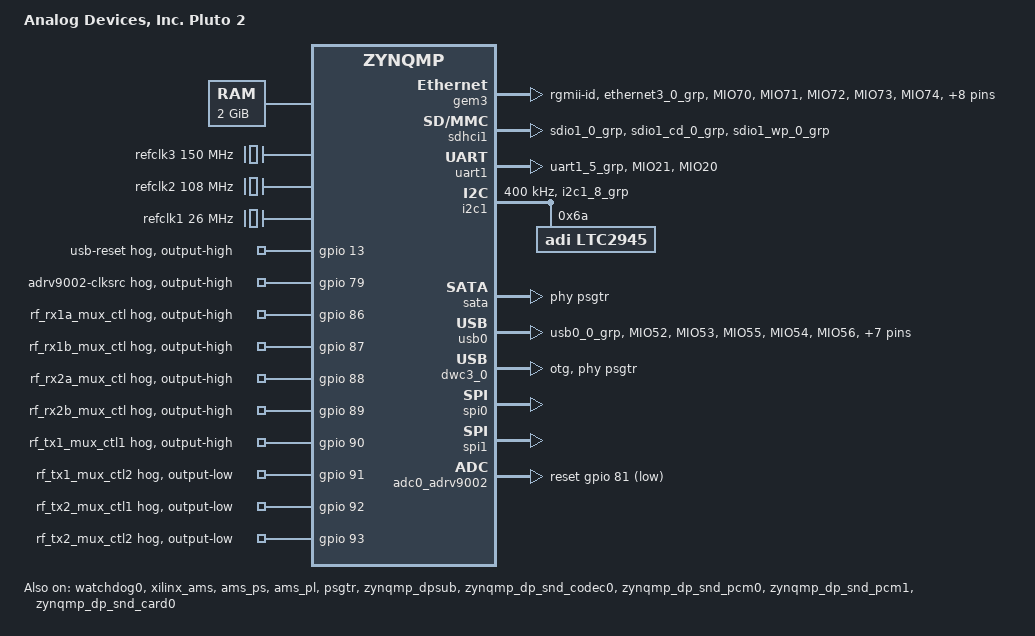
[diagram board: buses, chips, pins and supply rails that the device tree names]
/*
 * dts file for Analog Devices, Inc. Pluto 2
 *
 * Copyright (C) 2021 Analog Devices Inc.
 *
 * Licensed under the GPL-2.
 */

/dts-v1/;

#include "zynqmp.dtsi"
#include "zynqmp-clk-ccf.dtsi"
#include <dt-bindings/interrupt-controller/irq.h>
#include <dt-bindings/input/input.h>
#include <dt-bindings/gpio/gpio.h>
#include <dt-bindings/pinctrl/pinctrl-zynqmp.h>
#include <dt-bindings/phy/phy.h>

/ {
	model = "Analog Devices, Inc. Pluto 2";
	compatible = "xlnx,zynqmp";

	aliases {
		ethernet0 = &gem3;
		mmc0 = &sdhci1;
		rtc0 = &rtc;
		serial0 = &uart1;
		i2c0 = &i2c1;
		spi0 = &spi0;
	};

	chosen {
		bootargs = "console=ttyPS0,115200 root=/dev/mmcblk0p2 rw earlycon rootfstype=ext4 rootwait clk_ignore_unused cpuidle.off=1";
		stdout-path = "serial0:115200n8";
	};

	memory@0 {
		device_type = "memory";
		reg = <0x0 0x0 0x0 0x80000000>;
	};

	refclk3:psgtr_sata_clock {
	        compatible = "fixed-clock";
	        #clock-cells = <0x00>;
	        clock-frequency = <150000000>;
	};

	refclk2:psgtr_dp_clock {
	        compatible = "fixed-clock";
	        #clock-cells = <0x00>;
	        clock-frequency = <108000000>;
	};

	refclk1:psgtr_usb_clock {
	        compatible = "fixed-clock";
	        #clock-cells = <0x00>;
	        clock-frequency = <26000000>;
	};
};

&gem3 {
	phy-mode = "rgmii-id";
	status = "okay";
	xlnx,ptp-enet-clock = <0x0>;
	pinctrl-names = "default";
	pinctrl-0 = <&pinctrl_gem3_default>;
};

&sdhci1 {
	clock-frequency = <199998001>;
	status = "okay";
	no-1-8-v;
	xlnx,mio-bank = <0x1>;
	pinctrl-names = "default";
	pinctrl-0 = <&pinctrl_sdhci1_default>;
};

&uart1 {
	cts-override ;
	device_type = "serial";
	port-number = <0>;
	status = "okay";
	u-boot,dm-pre-reloc ;
	pinctrl-names = "default";
	pinctrl-0 = <&pinctrl_uart1_default>;
};

&watchdog0 {
	status = "okay";
};

&xilinx_ams {
	status = "okay";
};

&ams_ps {
	status = "okay";
};

&ams_pl {
	status = "okay";
};

&i2c1 {
	clock-frequency = <400000>;
	status = "okay";
	pinctrl-names = "default";
	pinctrl-0 = <&pinctrl_i2c1_default>;

	ltc2945@6a {
		compatible = "adi,ltc2945";
		reg = <0x6a>;
	};
};

&psgtr {
	status = "okay";
  reg-names = "serdes\0siou";
  #clock-cells = <0x01>;
  clocks = <&refclk1 &refclk2 &refclk3>;
  /* ref clk instances used per lane */
  clock-names = "ref0\0ref1\0ref2";
  #phy-cells = <0x04>;
};

&zynqmp_dpsub {
	phy-names = "dp-phy0";
	phys = <&psgtr 1 PHY_TYPE_DP 0 1>;
	status = "okay";
	xlnx,max-lanes = <1>;
};

&zynqmp_dp_snd_codec0 {
	status = "okay";
};

&zynqmp_dp_snd_pcm0 {
	status = "okay";
};

&zynqmp_dp_snd_pcm1 {
	status = "okay";
};

&zynqmp_dp_snd_card0 {
	status = "okay";
};

&zynqmp_dpdma {
	status = "okay";
};

&sata {
	ceva,p0-burst-params = /bits/ 8 <0x13 0x08 0x4A 0x06>;
	ceva,p0-cominit-params = /bits/ 8 <0x18 0x40 0x18 0x28>;
	ceva,p0-comwake-params = /bits/ 8 <0x06 0x14 0x08 0x0E>;
	ceva,p0-retry-params = /bits/ 16 <0x96A4 0x3FFC>;
	ceva,p1-burst-params = /bits/ 8 <0x13 0x08 0x4A 0x06>;
	ceva,p1-cominit-params = /bits/ 8 <0x18 0x40 0x18 0x28>;
	ceva,p1-comwake-params = /bits/ 8 <0x06 0x14 0x08 0x0E>;
	ceva,p1-retry-params = /bits/ 16 <0x96A4 0x3FFC>;
	status = "okay";
	xlnx,tz-nonsecure-sata0 = <0x0>;
	xlnx,tz-nonsecure-sata1 = <0x0>;
	phy-names = "sata-phy";
	phys = <&psgtr 3 PHY_TYPE_SATA 1 2>;
};

&gpio {
	emio-gpio-width = <32>;
	gpio-mask-high = <0x0>;
	gpio-mask-low = <0x5600>;
	status = "okay";
	usb_reset {
		gpio-hog;
		gpios = <13 0>;
		output-high;
		line-name = "usb-reset";
	};
	adrv9002_clksrc {
		gpio-hog;
		gpios = <79 0>;
		output-high;
		line-name = "adrv9002-clksrc";
	};

	rf_rx1a_mux_ctl {
		gpio-hog;
		gpios = <86 0>;
		output-high;
		line-name = "rf_rx1a_mux_ctl";
	};
	rf_rx1b_mux_ctl {
		gpio-hog;
		gpios = <87 0>;
		output-high;
		line-name = "rf_rx1b_mux_ctl";
	};
	rf_rx2a_mux_ctl {
		gpio-hog;
		gpios = <88 0>;
		output-high;
		line-name = "rf_rx2a_mux_ctl";
	};
	rf_rx2b_mux_ctl {
		gpio-hog;
		gpios = <89 0>;
		output-high;
		line-name = "rf_rx2b_mux_ctl";
	};
	rf_tx1_mux_ctl1 {
		gpio-hog;
		gpios = <90 0>;
		output-high;
		line-name = "rf_tx1_mux_ctl1";
	};
	rf_tx1_mux_ctl2 {
		gpio-hog;
		gpios = <91 0>;
		output-low;
		line-name = "rf_tx1_mux_ctl2";
	};
	rf_tx2_mux_ctl1 {
		gpio-hog;
		gpios = <92 0>;
		output-low;
		line-name = "rf_tx2_mux_ctl1";
	};
	rf_tx2_mux_ctl2 {
		gpio-hog;
		gpios = <93 0>;
		output-low;
		line-name = "rf_tx2_mux_ctl2";
	};
};

&usb0 {
	status = "okay";
	xlnx,tz-nonsecure = <0x1>;
	xlnx,usb-polarity = <0x0>;
	xlnx,usb-reset-mode = <0x0>;
	pinctrl-names = "default";
	pinctrl-0 = <&pinctrl_usb0_default>;
};

&dwc3_0 {
	status = "okay";
	dr_mode = "otg";
	phy-names = "usb3-phy";
	phys = <&psgtr 0 PHY_TYPE_USB3 0 0>;
};

&spi0 {
	is-decoded-cs = <0>;
	num-cs = <1>;
	status = "okay";
};

&spi1 {
	is-decoded-cs = <0>;
	num-cs = <1>;
	status = "okay";
};

&pinctrl0 {
	status = "okay";

	pinctrl_uart1_default: uart1-default {
		mux {
			groups = "uart1_5_grp";
			function = "uart1";
		};

		conf {
			groups = "uart1_5_grp";
			slew-rate = <SLEW_RATE_SLOW>;
			io-standard = <IO_STANDARD_LVCMOS18>;
		};

		conf-rx {
			pins = "MIO21";
			bias-high-impedance;
		};

		conf-tx {
			pins = "MIO20";
			bias-disable;
		};
	};

	pinctrl_gem3_default: gem3-default {
		mux {
			function = "ethernet3";
			groups = "ethernet3_0_grp";
		};

		conf {
			groups = "ethernet3_0_grp";
			slew-rate = <SLEW_RATE_SLOW>;
			io-standard = <IO_STANDARD_LVCMOS18>;
		};

		conf-rx {
			pins = "MIO70", "MIO71", "MIO72", "MIO73", "MIO74",
									"MIO75";
			bias-high-impedance;
			low-power-disable;
		};

		conf-tx {
			pins = "MIO64", "MIO65", "MIO66", "MIO67", "MIO68",
									"MIO69";
			bias-disable;
			low-power-enable;
		};

		mux-mdio {
			function = "mdio3";
			groups = "mdio3_0_grp";
		};

		conf-mdio {
			groups = "mdio3_0_grp";
			slew-rate = <SLEW_RATE_SLOW>;
			io-standard = <IO_STANDARD_LVCMOS18>;
			bias-disable;
		};
	};

	pinctrl_sdhci1_default: sdhci1-default {
		mux {
			groups = "sdio1_0_grp";
			function = "sdio1";
		};

		conf {
			groups = "sdio1_0_grp";
			slew-rate = <SLEW_RATE_SLOW>;
			io-standard = <IO_STANDARD_LVCMOS18>;
			bias-disable;
		};

		mux-cd {
			groups = "sdio1_cd_0_grp";
			function = "sdio1_cd";
		};

		conf-cd {
			groups = "sdio1_cd_0_grp";
			bias-high-impedance;
			bias-pull-up;
			slew-rate = <SLEW_RATE_SLOW>;
			io-standard = <IO_STANDARD_LVCMOS18>;
		};

		mux-wp {
			groups = "sdio1_wp_0_grp";
			function = "sdio1_wp";
		};

		conf-wp {
			groups = "sdio1_wp_0_grp";
			bias-high-impedance;
			bias-pull-up;
			slew-rate = <SLEW_RATE_SLOW>;
			io-standard = <IO_STANDARD_LVCMOS18>;
		};
	};

	pinctrl_i2c1_default: i2c1-default {
		mux {
			groups = "i2c1_8_grp";
			function = "i2c1";
		};

		conf {
			groups = "i2c1_8_grp";
			bias-pull-up;
			slew-rate = <SLEW_RATE_SLOW>;
			io-standard = <IO_STANDARD_LVCMOS18>;
		};
	};

	pinctrl_usb0_default: usb0-default {
		mux {
			groups = "usb0_0_grp";
			function = "usb0";
		};

		conf {
			groups = "usb0_0_grp";
			slew-rate = <SLEW_RATE_SLOW>;
			io-standard = <IO_STANDARD_LVCMOS18>;
		};

		conf-rx {
			pins = "MIO52", "MIO53", "MIO55";
			bias-high-impedance;
		};

		conf-tx {
			pins = "MIO54", "MIO56", "MIO57", "MIO58", "MIO59",
			"MIO60", "MIO61", "MIO62", "MIO63";
			bias-disable;
		};
	};
};

/ {
	fpga_axi  {
		interrupt-parent = <&gic>;
		compatible = "simple-bus";
		#address-cells = <0x1>;
		#size-cells = <0x1>;
		ranges = <0 0 0 0xffffffff>;

		rx1_dma: dma@84A30000 {
			compatible = "adi,axi-dmac-1.00.a";
			reg = <0x84A30000 0x10000>;
			#dma-cells = <1>;
			interrupts = <0 109 IRQ_TYPE_LEVEL_HIGH>;
			clocks = <&zynqmp_clk 71>;

			adi,channels {
				#size-cells = <0>;
				#address-cells = <1>;

				dma-channel@0 {
					reg = <0>;
					adi,source-bus-width = <64>;
					adi,source-bus-type = <2>;
					adi,destination-bus-width = <64>;
					adi,destination-bus-type = <0>;
				};
			};
		};

		rx2_dma: dma@84A40000 {
			compatible = "adi,axi-dmac-1.00.a";
			reg = <0x84A40000 0x10000>;
			#dma-cells = <1>;
			interrupts = <0 108 IRQ_TYPE_LEVEL_HIGH>;
			clocks = <&zynqmp_clk 71>;

			adi,channels {
				#size-cells = <0>;
				#address-cells	 = <1>;

				dma-channel@0 {
					reg = <0>;
					adi,source-bus-width = <64>;
					adi,source-bus-type = <2>;
					adi,destination-bus-width = <64>;
					adi,destination-bus-type = <0>;
				};
			};
		};

		tx1_dma: dma@84A50000 {
			compatible = "adi,axi-dmac-1.00.a";
			reg = <0x84A50000 0x10000>;
			#dma-cells = <1>;
			interrupts = <0 107 IRQ_TYPE_LEVEL_HIGH>;
			clocks = <&zynqmp_clk 71>;

			adi,channels {
				#size-cells = <0>;
				#address-cells = <1>;

				dma-channel@0 {
					reg = <0>;
					adi,source-bus-width = <64>;
					adi,source-bus-type = <0>;
					adi,destination-bus-width = <64>;
					adi,destination-bus-type = <2>;
				};
			};
		};

		tx2_dma: dma@84A6000 {
			compatible = "adi,axi-dmac-1.00.a";
			reg = <0x84A60000 0x10000>;
			#dma-cells = <1>;
			interrupts = <0 106 IRQ_TYPE_LEVEL_HIGH>;
			clocks = <&zynqmp_clk 71>;

			adi,channels {
				#size-cells = <0>;
				#address-cells = <1>;

				dma-channel@0 {
					reg = <0>;
					adi,source-bus-width = <64>;
					adi,source-bus-type = <0>;
					adi,destination-bus-width = <64>;
					adi,destination-bus-type = <2>;
				};
			};
		};

		axi_adrv9002_core_rx1: axi-adrv9002-rx-lpc@84A00000 {
			compatible = "adi,axi-adrv9002-rx-1.0";
			reg = <0x84A00000 0x6000>;
			clocks = <&adc0_adrv9002 0>;
			dmas = <&rx1_dma 0>;
			dma-names = "rx";
			spibus-connected = <&adc0_adrv9002>;
		};

		axi_adrv9002_core_tx1: axi-adrv9002-tx-lpc@84A04000 {
			compatible = "adi,axi-adrv9002-tx-1.0";
			reg = <0x84A0A000 0x2000>;
			clocks = <&adc0_adrv9002 1>;
			clock-names = "sampl_clk";
			dmas = <&tx1_dma 0>;
			dma-names = "tx";
			adi,axi-dds-default-scale = <0x800>;
			adi,axi-dds-default-frequency = <2000000>;
		};

		axi_adrv9002_core_rx2: axi-adrv9002-rx2-lpc@84A02000 {
			compatible = "adi,axi-adrv9002-rx2-1.0";
			reg = <0x84A09000 0x1000>;
			clocks = <&adc0_adrv9002 3>;
			clock-names = "sampl_clk";
			dmas = <&rx2_dma 0>;
			dma-names = "rx";
		};

		axi_adrv9002_core_tx2: axi-adrv9002-tx2-lpc@84A06000 {
			compatible = "adi,axi-adrv9002-tx-1.0";
			reg = <0x84A0C000 0x2000>;
			clocks = <&adc0_adrv9002 4>;
			clock-names = "sampl_clk";
			dmas = <&tx2_dma 0>;
			dma-names = "tx";
			adi,axi-dds-default-scale = <0x800>;
			adi,axi-dds-default-frequency = <2000000>;
		};

		axi_sysid_0: axi-sysid-0@85000000 {
			compatible = "adi,axi-sysid-1.00.a";
			reg = <0x85000000 0x10000>;
		};
	};
};

#define fmc_spi spi0

#include "adi-adrv9002.dtsi"

&adc0_adrv9002 {
	reset-gpios = <&gpio 81 GPIO_ACTIVE_LOW>;
	interrupts = <78 IRQ_TYPE_EDGE_RISING>;
};
